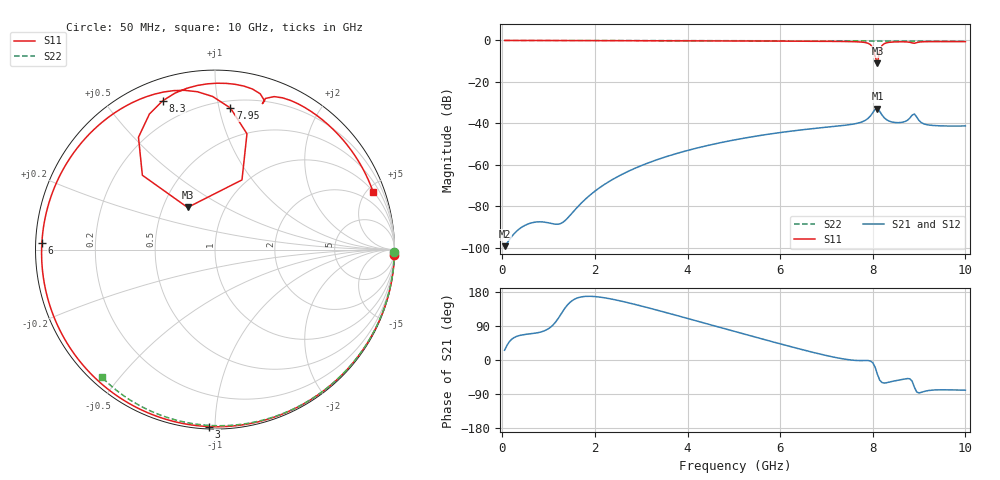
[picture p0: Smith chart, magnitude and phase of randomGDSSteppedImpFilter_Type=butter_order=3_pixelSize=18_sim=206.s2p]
! freq	dB(S11)	phase(S11)	dB(S12)	phase(S12)
!  dB(S21)	phase(S21)	dB(S22)	phase(S22)
!S-par simulation data
#  GHz  S  DB  R 50
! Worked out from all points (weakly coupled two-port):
!   200 points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, 50 MHz to 10 GHz, reference 50 ohm
!   highest |S21| = -32.86 dB at 8.1 GHz (marker M1); lowest = -99.2 dB at 50 MHz (marker M2)
!   lowest |S11| = -11.1 dB at 8.1 GHz (marker M3), VSWR 1.78, Z = 33.3 + j17 ohm
!   |S11| at or under -10 dB: 8.08467 GHz to 8.108367 GHz (23.7 MHz wide, 0.293 % of centre)
!   |S22| runs from -0.4 to 0.0 dB; largest |S21 - S12| = 0
!   S11 on the Smith chart (normalised r, x): 50 MHz: 0, -72; 3 GHz: 0.01, -0.97; 6 GHz: 0.02, +0.02; 7.95 GHz: 0.25, +1.08; 8.3 GHz: 0.10, +0.70; 10 GHz: 1.01, +5.45
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0.05  -0.00 -1.6  -99.22 25.8  -99.22 25.8  -0.00 -0.8
0.8  -0.03 -25.4  -87.47 72.9  -87.47 72.9  -0.01 -12.1
1.6  -0.06 -50.1  -80.94 162.7  -80.94 162.7  -0.03 -24.1
1.75  -0.07 -54.7  -77.48 167.3  -77.48 167.3  -0.03 -26.3
2.3  -0.09 -71.3  -68.13 162.2  -68.13 162.2  -0.04 -34.3
3  -0.12 -91.9  -60.39 142.5  -60.39 142.5  -0.06 -44.4
3.4  -0.13 -103.6  -57.08 129.7  -57.08 129.7  -0.07 -50.0
5.05  -0.23 -152.1  -47.82 74.3  -47.82 74.3  -0.11 -72.3
6  -0.31 177.8  -44.42 42.6  -44.42 42.6  -0.15 -84.5
6.7  -0.38 153.1  -42.53 20.4  -42.53 20.4  -0.18 -93.2
7.5  -0.54 119.4  -40.61 0.4  -40.61 0.4  -0.23 -102.8
7.8  -0.88 100.8  -38.97 -1.4  -38.97 -1.4  -0.25 -106.4
7.95  -2.01 83.8  -36.40 -2.7  -36.40 -2.7  -0.26 -108.1
8.05  -7.61 68.8  -33.27 -18.7  -33.27 -18.7  -0.27 -109.3
8.1  -11.06 123.0  -32.86 -37.7  -32.86 -37.7  -0.27 -109.9
8.15  -4.74 134.3  -34.21 -53.2  -34.21 -53.2  -0.27 -110.4
8.3  -1.12 109.4  -38.27 -59.9  -38.27 -59.9  -0.28 -112.2
8.35  -0.91 104.3  -38.87 -58.5  -38.87 -58.5  -0.29 -112.8
8.65  -0.65 83.0  -39.41 -51.1  -39.41 -51.1  -0.31 -116.2
8.9  -1.36 72.0  -35.47 -72.2  -35.47 -72.2  -0.33 -119.1
9.15  -0.59 60.4  -40.54 -81.8  -40.54 -81.8  -0.35 -121.9
10  -0.56 20.1  -41.22 -79.6  -41.22 -79.6  -0.44 -131.5
